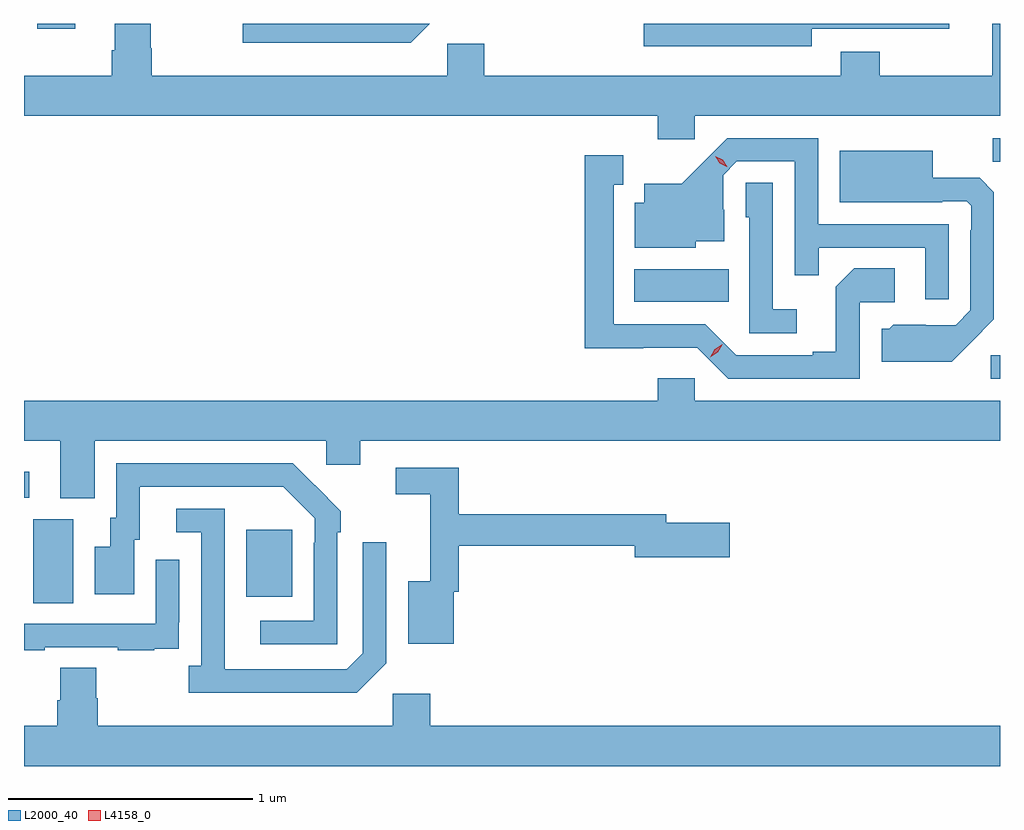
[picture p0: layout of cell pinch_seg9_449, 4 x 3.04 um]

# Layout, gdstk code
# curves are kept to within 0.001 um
import gdstk
lib = gdstk.Library(unit=1e-6, precision=1e-09)
def R(c, l, rs):  # rectangles x0, y0, x1, y1
    for r in rs: c.add(gdstk.rectangle(r[:2], r[2:], *l))
def P(c, l, *ps):  # polygons
    for p in ps: c.add(gdstk.Polygon(p, *l))
L2000_40 = (2000, 40)
L4158_0 = (4158, 0)

pinch_seg9_449 = lib.new_cell('pinch_seg9_449')
R(pinch_seg9_449, L2000_40, [(254.12,1181.104,254.284,1181.448), (254.993,1181.129,255.181,1181.404), (254.082,1181.535,254.104,1181.641), (258.045,1182.024,258.082,1182.12), (256.583,1182.338,256.97,1182.472), (258.052,1182.913,258.082,1183.008), (254.137,1183.458,254.293,1183.477)])
P(pinch_seg9_449, L2000_40, [(256.83,1183.1),(258.082,1183.1),(258.082,1183.477),(258.05,1183.477),(258.05,1183.264),(257.589,1183.264),(257.589,1183.363),(257.429,1183.363),(257.429,1183.264),(255.968,1183.264),(255.968,1183.396),(255.816,1183.396),(255.816,1183.264),(254.606,1183.264),(254.606,1183.377),(254.601,1183.377),(254.601,1183.477),(254.453,1183.477),(254.453,1183.37),(254.441,1183.37),(254.441,1183.264),(254.082,1183.264),(254.082,1183.1),(256.679,1183.1),(256.679,1183.005),(256.83,1183.005)],
  [(255.745,1183.477),(254.979,1183.477),(254.979,1183.4),(255.668,1183.4)],
  [(257.311,1183.458),(257.875,1183.458),(257.875,1183.477),(256.621,1183.477),(256.621,1183.386),(257.311,1183.386)],
  [(257.871,1182.657),(257.337,1182.657),(257.337,1183.008),(256.964,1183.008),(256.777,1182.823),(256.625,1182.823),(256.625,1182.745),(256.586,1182.745),(256.586,1182.56),(256.836,1182.56),(256.836,1182.587),(256.951,1182.587),(256.951,1182.716),(256.947,1182.716),(256.947,1182.858),(257.004,1182.915),(257.241,1182.915),(257.241,1182.448),(257.339,1182.448),(257.339,1182.561),(257.775,1182.561),(257.775,1182.348),(257.871,1182.348)],
  [(257.965,1182.173),(258.057,1182.266),(258.057,1182.788),(257.998,1182.847),(257.806,1182.847),(257.806,1182.958),(257.426,1182.958),(257.426,1182.746),(257.846,1182.746),(257.846,1182.75),(257.946,1182.75),(257.964,1182.732),(257.964,1182.632),(257.961,1182.632),(257.961,1182.303),(257.901,1182.243),(257.644,1182.244),(257.628,1182.228),(257.597,1182.228),(257.597,1182.092),(257.885,1182.092)],
  [(257.508,1182.336),(257.65,1182.336),(257.65,1182.476),(257.485,1182.476),(257.409,1182.4),(257.409,1182.133),(257.315,1182.133),(257.315,1182.12),(257.001,1182.12),(256.875,1182.246),(256.498,1182.246),(256.498,1182.819),(256.537,1182.819),(256.537,1182.94),(256.38,1182.94),(256.38,1182.149),(256.842,1182.15),(256.968,1182.024),(257.508,1182.024)],
  [(257.248,1182.307),(257.151,1182.307),(257.151,1182.827),(257.04,1182.827),(257.04,1182.684),(257.055,1182.684),(257.055,1182.21),(257.248,1182.21)],
  [(254.371,1181.768),(255.321,1181.768),(255.321,1181.67),(255.46,1181.67),(255.46,1181.768),(258.082,1181.768),(258.082,1181.932),(256.83,1181.932),(256.83,1182.025),(256.679,1182.025),(256.679,1181.932),(254.082,1181.932),(254.082,1181.768),(254.231,1181.768),(254.231,1181.533),(254.371,1181.533)],
  [(255.366,1181.393),(255.381,1181.393),(255.381,1181.481),(255.184,1181.676),(254.46,1181.676),(254.46,1181.454),(254.435,1181.454),(254.435,1181.335),(254.372,1181.335),(254.372,1181.139),(254.533,1181.139),(254.533,1181.364),(254.557,1181.364),(254.557,1181.58),(255.145,1181.58),(255.273,1181.451),(255.273,1181.351),(255.27,1181.351),(255.27,1181.031),(255.051,1181.031),(255.051,1180.935),(255.366,1180.935)],
  [(255.844,1181.151),(255.863,1181.151),(255.863,1181.338),(256.586,1181.338),(256.586,1181.291),(256.975,1181.291),(256.975,1181.433),(256.714,1181.433),(256.714,1181.467),(255.863,1181.467),(255.863,1181.658),(255.606,1181.658),(255.606,1181.55),(255.746,1181.55),(255.746,1181.194),(255.656,1181.194),(255.656,1180.937),(255.844,1180.937)],
  [(255.567,1180.857),(255.567,1181.353),(255.471,1181.353),(255.471,1180.899),(255.405,1180.833),(254.905,1180.833),(254.904,1181.49),(254.706,1181.49),(254.706,1181.394),(254.808,1181.394),(254.808,1180.846),(254.757,1180.846),(254.757,1180.736),(255.446,1180.736)],
  [(254.167,1180.923),(254.467,1180.923),(254.467,1180.911),(254.615,1180.911),(254.615,1180.917),(254.717,1180.917),(254.717,1181.026),(254.718,1181.026),(254.718,1181.281),(254.622,1181.281),(254.622,1181.019),(254.082,1181.019),(254.082,1180.911),(254.167,1180.911)],
  [(258.082,1180.6),(255.746,1180.6),(255.746,1180.732),(255.594,1180.732),(255.594,1180.6),(254.384,1180.6),(254.384,1180.713),(254.379,1180.713),(254.379,1180.838),(254.231,1180.838),(254.231,1180.706),(254.219,1180.706),(254.219,1180.6),(254.082,1180.6),(254.082,1180.436),(258.082,1180.436)])
P(pinch_seg9_449, L4158_0, [(256.963,1182.891),(256.933,1182.906),(256.915,1182.936),(256.915,1182.936),(256.916,1182.936),(256.946,1182.921),(256.964,1182.891),(256.964,1182.891)],
  [(256.894,1182.112),(256.894,1182.112),(256.912,1182.145),(256.944,1182.164),(256.944,1182.164),(256.944,1182.163),(256.926,1182.131),(256.895,1182.112)])

lib.write_gds('pinch_seg9_449.gds')
